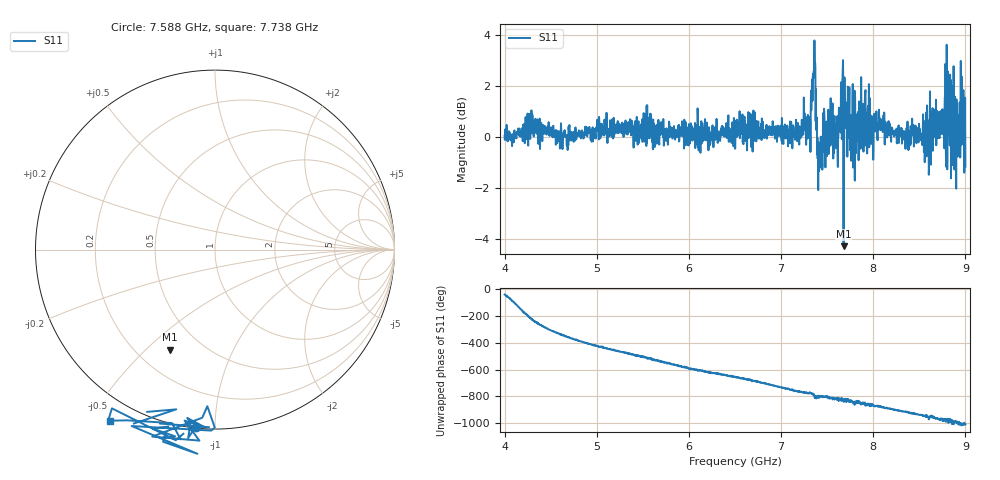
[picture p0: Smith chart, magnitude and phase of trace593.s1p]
! Created with skrf 1.8.0 (http://scikit-rf.org).
# Hz S RI R 50.0
!freq ReS11 ImS11
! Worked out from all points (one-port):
!   1601 points, 4 GHz to 9 GHz, reference 50 ohm
!   lowest |S11| = -4.3 dB at 7.678 GHz (marker M1), VSWR 4.14, Z = 16.7 - j29.7 ohm
!   |S11| at or under -10 dB: nowhere
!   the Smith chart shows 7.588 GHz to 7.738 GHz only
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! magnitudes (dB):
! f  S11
! 4 GHz  0.1
! 4.309 GHz  0.6
! 4.625 GHz  -0.3
! 5.25 GHz  0.2
! 5.875 GHz  0.0
! 6.5 GHz  -0.5
! 7.125 GHz  0.1
! 7.294 GHz  0.2
! 7.347 GHz  2.5
! 7.369 GHz  2.9
! 7.4 GHz  -0.5
! 7.425 GHz  -0.6
! 7.478 GHz  0.5
! 7.591 GHz  0.5
! 7.638 GHz  0.7
! 7.65 GHz  2.1
! 7.678 GHz  -4.3
! 7.75 GHz  -0.1
! 7.769 GHz  -0.9
! 7.928 GHz  0.7
! 7.981 GHz  -0.3
! 8.375 GHz  0.1
! 8.603 GHz  -1.5
! 8.766 GHz  0.4
! 8.816 GHz  1.3
! 8.9 GHz  -2.0
! 8.972 GHz  0.7
! 9 GHz  -1.2
